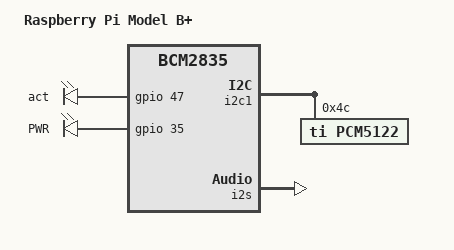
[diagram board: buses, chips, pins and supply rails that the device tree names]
/dts-v1/;
#include "bcm2835.dtsi"
#include "bcm2835-rpi.dtsi"

/ {
	compatible = "raspberrypi,model-b-plus", "brcm,bcm2835";
	model = "Raspberry Pi Model B+";

	leds {
		act {
			gpios = <&gpio 47 0>;
		};

		pwr {
			label = "PWR";
			gpios = <&gpio 35 0>;
			default-state = "keep";
			linux,default-trigger = "default-on";
		};
	};

	sound {
		compatible = "iqaudio,iqaudio-dac";
		i2s-controller = <&i2s>;
	};
};

&gpio {
	pinctrl-0 = <&gpioout &alt0 &i2s_alt0 &alt3>;

	/* I2S interface */
	i2s_alt0: i2s_alt0 {
		brcm,pins = <18 19 20 21>;
		brcm,function = <BCM2835_FSEL_ALT0>;
	};
};

&i2c1 {
	status = "okay";

	pcm5122@4c {
		#sound-dai-cells = <0>;
		compatible = "ti,pcm5122";
		reg = <0x4c>;
		status = "okay";
	};
};

&i2s {
	status = "okay";
};

&clocks {
	#address-cells = <1>;
	#size-cells = <0>;

	clock@BCM2835_CLOCK_PCM {
		reg = <BCM2835_CLOCK_PCM>;
		parent-clock-names = "xosc", "plld_per";
		brcm,clock-selector = <BCM2835_CHOOSE_CLOCK_DEFAULT>;
		brcm,min-fract-div = <20>;
	};
};
